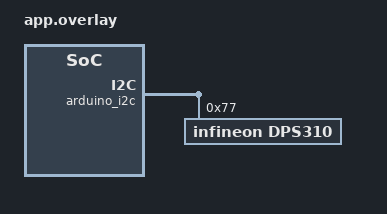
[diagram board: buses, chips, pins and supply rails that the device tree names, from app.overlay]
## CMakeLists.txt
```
# SPDX-License-Identifier: Apache-2.0

cmake_minimum_required(VERSION 3.20.0)
find_package(Zephyr REQUIRED HINTS $ENV{ZEPHYR_BASE})

project(dps310)
FILE(GLOB app_sources src/*.c)
target_sources(app PRIVATE ${app_sources})
```

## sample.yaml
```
sample:
  name: DP310 Sensor sample
tests:
  sample.sensor.dps310:
    harness: console
    tags: sensors
    depends_on:
      - i2c
      - arduino_i2c
    harness_config:
      type: one_line
      regex:
        - "temp: (.*); press: (.*);"
      fixture: fixture_i2c_dps310
```

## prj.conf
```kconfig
CONFIG_STDOUT_CONSOLE=y
CONFIG_I2C=y
CONFIG_SENSOR=y
CONFIG_DPS310=y
```

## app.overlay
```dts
/*
 * Copyright (c) 2019 Infineon Technologies AG
 *
 * SPDX-License-Identifier: Apache-2.0
 */

/*
 * A DPS310 attached to the Arduino I2C pins
 */

&arduino_i2c {
	DPS310@77 {
		status = "okay";
		compatible = "infineon,dps310";
		reg = <0x77>;
	};
};
```

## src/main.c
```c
/*
 * Copyright (c) 2019 Infineon Technologies AG
 *
 * SPDX-License-Identifier: Apache-2.0
 */

#include <zephyr/kernel.h>
#include <zephyr/device.h>
#include <zephyr/drivers/sensor.h>
#include <stdlib.h>

int main(void)
{
	printk("Hello DPS310\n");
	const struct device *const dev = DEVICE_DT_GET_ONE(infineon_dps310);

	if (!device_is_ready(dev)) {
		printk("Device %s is not ready\n", dev->name);
		return 0;
	}

	printk("dev %p name %s\n", dev, dev->name);

	while (1) {
		struct sensor_value temp, press;

		sensor_sample_fetch(dev);
		sensor_channel_get(dev, SENSOR_CHAN_AMBIENT_TEMP, &temp);
		sensor_channel_get(dev, SENSOR_CHAN_PRESS, &press);

		printk("temp: %d.%06d; press: %d.%06d\n",
		      temp.val1, abs(temp.val2), press.val1, press.val2);

		k_sleep(K_MSEC(1000));
	}
	return 0;
}
```
